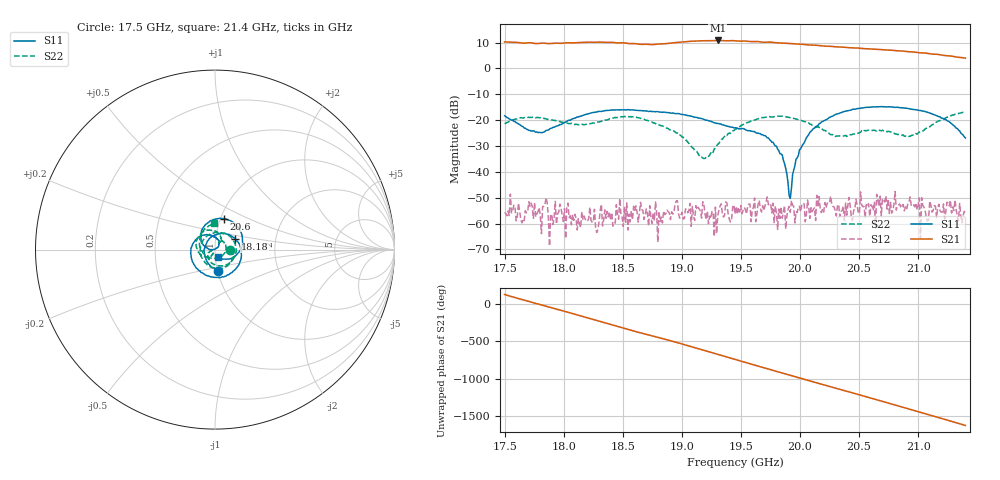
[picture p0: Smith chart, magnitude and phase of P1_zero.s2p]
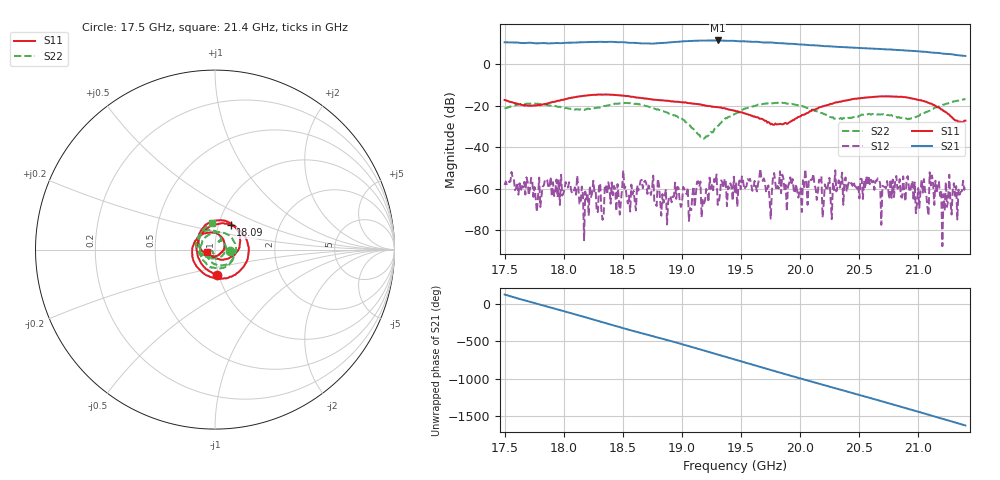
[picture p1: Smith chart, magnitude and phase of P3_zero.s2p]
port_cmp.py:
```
import matplotlib.pyplot as plt
import numpy as np
import skrf as rf
from skrf import network 
from matplotlib.backends.backend_pdf import PdfPages


def multipage(filename, figs=None, dpi=200):
    pp = PdfPages(filename)
    if figs is None:
        figs = [plt.figure(n) for n in plt.get_fignums()]
    for fig in figs:
        fig.savefig(pp, format='pdf')
    pp.close()


freq = '19.957ghz'
files = ["P0_zero.s2p","P1_zero.s2p","P2_zero.s2p","P3_zero.s2p","P4_zero.s2p","P5_zero.s2p","P6_zero.s2p","P7_zero.s2p"]
networks = []
#Load listed files
for file in files:
    networks.append(rf.Network(file))

relative_networks = []
reference_network = networks[0]
for network in networks:
    plt.figure("S11")
    plt.title("S11")
    network.plot_s_db(m=0,n=0)
    plt.figure("S22")
    plt.title("S22")
    network.plot_s_db(m=1,n=1)
    plt.figure("S21 (amp)")
    plt.title("S21 (amp)")
    network.plot_s_db(m=1,n=0)
    plt.figure("S21 (phase)")
    plt.title("S21 (phase)")
    network.plot_s_deg(m=1,n=0)
    if network is not reference_network:
        relative_networks.append(network/reference_network)

cnt = 1
for network in relative_networks:
    plt.figure("Relative Amplitudes (P1 as ref)")
    plt.title("Relative Amplitudes (P1 as ref)")
    network.plot_s_db(m=1,n=0)
    plt.figure("Relative Phases (P1 as ref)")
    plt.title("Relative Phases (P1 as ref)")
    network.plot_s_deg(m=1,n=0)
    cnt = cnt + 1

multipage("holi.pdf")

plt.show()
```
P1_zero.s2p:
!Created with skrf (http://scikit-rf.org).
# GHz S RI R 50.0
!freq ReS11 ImS11 ReS21 ImS21 ReS12 ImS12 ReS22 ImS22
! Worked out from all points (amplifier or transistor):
!   401 points, 17.5 GHz to 21.4 GHz, reference 50 ohm
!   highest |S21| = 10.8 dB at 19.3 GHz (marker M1)
!   |S21| within 3 dB of that: start of sweep to 20.5 GHz
!   unconditionally stable (mu >= 1): start of sweep to end of sweep
!   at 18.14 GHz: K = 184.45, MAG = 10.1 dB, |S12| = -61.6 dB
!   at 19.45 GHz: K = 93.15, MAG = 10.8 dB, |S12| = -56.2 dB
!   at 21.4 GHz: K = 191.26, MAG = 4.1 dB, |S12| = -55.9 dB
!   S11 on the Smith chart (normalised r, x): 17.5 GHz: 1.01, -0.25; 18.18 GHz: 1.25, +0.15; 20.6 GHz: 1.04, +0.37; 21.4 GHz: 1.03, -0.09
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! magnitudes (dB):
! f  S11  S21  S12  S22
! 17.5 GHz  -18.3  10.3  -55.6  -21.3
! 17.8 GHz  -24.8  9.7  -57.2  -19.0
! 18.18 GHz  -17.8  10.1  -58.4  -21.6
! 19.18 GHz  -19.5  10.7  -51.5  -34.6
! 19.3 GHz  -21.3  10.8  -57.1  -29.3
! 19.45 GHz  -22.9  10.7  -56.2  -23.6
! 19.78 GHz  -29.3  10.0  -59.6  -18.7
! 19.92 GHz  -50.3  9.7  -55.6  -19.0
! 20.1 GHz  -23.9  9.0  -55.4  -22.0
! 20.6 GHz  -14.9  7.5  -52.8  -24.0
! 21.4 GHz  -26.9  4.0  -55.9  -16.7
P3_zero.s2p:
!Created with skrf (http://scikit-rf.org).
# GHz S RI R 50.0
!freq ReS11 ImS11 ReS21 ImS21 ReS12 ImS12 ReS22 ImS22
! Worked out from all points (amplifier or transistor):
!   401 points, 17.5 GHz to 21.4 GHz, reference 50 ohm
!   highest |S21| = 11.6 dB at 19.3 GHz (marker M1)
!   |S21| within 3 dB of that: start of sweep to 20.3 GHz
!   unconditionally stable (mu >= 1): start of sweep to end of sweep
!   at 18.14 GHz: K = 319.29, MAG = 10.8 dB, |S12| = -67.1 dB
!   at 19.45 GHz: K = 168.82, MAG = 11.4 dB, |S12| = -62.0 dB
!   at 21.4 GHz: K = 240.34, MAG = 4.2 dB, |S12| = -57.9 dB
!   S11 on the Smith chart (normalised r, x): 17.5 GHz: 0.98, -0.28; 18.09 GHz: 1.14, +0.32; 21.4 GHz: 0.92, -0.03
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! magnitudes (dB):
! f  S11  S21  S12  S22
! 17.5 GHz  -17.1  10.7  -58.1  -21.3
! 18.09 GHz  -15.7  10.5  -59.2  -21.8
! 18.19 GHz  -15.0  10.8  -65.1  -21.6
! 18.67 GHz  -16.2  10.1  -59.7  -19.5
! 18.89 GHz  -17.6  10.6  -63.4  -23.8
! 19.3 GHz  -20.6  11.6  -67.7  -29.7
! 19.45 GHz  -22.3  11.3  -62.0  -23.8
! 19.84 GHz  -28.7  10.2  -62.0  -18.6
! 20.83 GHz  -15.6  6.9  -59.2  -25.3
! 21.22 GHz  -22.6  5.1  -70.4  -19.2
! 21.4 GHz  -27.1  4.1  -57.9  -16.7
